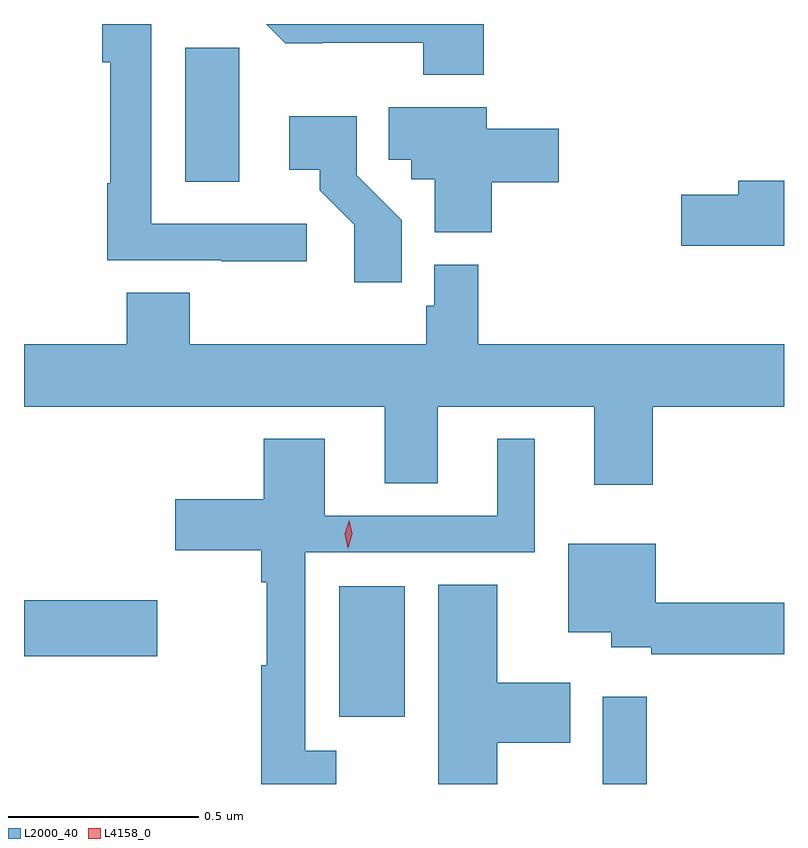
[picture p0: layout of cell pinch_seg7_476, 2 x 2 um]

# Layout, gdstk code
import gdstk
lib = gdstk.Library(unit=1e-6, precision=1e-09)
def R(c, l, rs):  # rectangles x0, y0, x1, y1
    for r in rs: c.add(gdstk.rectangle(r[:2], r[2:], *l))
def P(c, l, *ps):  # polygons
    for p in ps: c.add(gdstk.Polygon(p, *l))
L2000_40 = (2000, 40)
L4158_0 = (4158, 0)

pinch_seg7_476 = lib.new_cell('pinch_seg7_476')
R(pinch_seg7_476, L2000_40, [(314.313,1058.231,314.429,1058.461), (313.619,1058.408,313.792,1058.752), (312.79,1058.567,313.141,1058.714)])
P(pinch_seg7_476, L2000_40, [(314,1060.231),(313.427,1060.231),(313.477,1060.181),(313.576,1060.181),(313.576,1060.182),(313.84,1060.182),(313.84,1060.097),(314,1060.097)],
  [(313.534,1059.705),(313.125,1059.705),(313.125,1060.231),(312.996,1060.231),(312.996,1060.13),(313.017,1060.13),(313.017,1059.812),(313.009,1059.812),(313.009,1059.609),(313.309,1059.609),(313.309,1059.607),(313.534,1059.607)],
  [(313.357,1060.058),(313.356,1060.058),(313.356,1060.169),(313.214,1060.169),(313.214,1059.816),(313.357,1059.816)],
  [(314.021,1059.814),(314.197,1059.814),(314.197,1059.956),(314.008,1059.956),(314.008,1060.012),(313.75,1060.012),(313.75,1059.874),(313.809,1059.874),(313.809,1059.822),(313.871,1059.822),(313.871,1059.683),(314.021,1059.683)],
  [(313.784,1059.714),(313.665,1059.833),(313.665,1059.988),(313.488,1059.988),(313.488,1059.848),(313.568,1059.848),(313.568,1059.793),(313.659,1059.703),(313.659,1059.552),(313.784,1059.552)],
  [(314.79,1059.818),(314.669,1059.818),(314.669,1059.782),(314.52,1059.782),(314.52,1059.647),(314.79,1059.647)],
  [(314.444,1059.224),(314.79,1059.224),(314.79,1059.388),(313.985,1059.388),(313.985,1059.598),(313.869,1059.598),(313.869,1059.489),(313.849,1059.489),(313.849,1059.388),(313.226,1059.388),(313.226,1059.524),(313.061,1059.524),(313.061,1059.388),(312.79,1059.388),(312.79,1059.224),(313.739,1059.224),(313.739,1059.022),(313.879,1059.022),(313.879,1059.224),(314.291,1059.224),(314.291,1059.018),(314.444,1059.018)],
  [(313.612,1058.319),(313.53,1058.319),(313.53,1058.841),(314.134,1058.841),(314.134,1059.139),(314.036,1059.139),(314.036,1058.937),(313.582,1058.937),(313.582,1059.139),(313.421,1059.139),(313.421,1058.98),(313.188,1058.98),(313.188,1058.846),(313.414,1058.846),(313.414,1058.762),(313.429,1058.762),(313.429,1058.544),(313.414,1058.544),(313.414,1058.231),(313.612,1058.231)],
  [(314.79,1058.708),(314.452,1058.708),(314.452,1058.863),(314.222,1058.863),(314.222,1058.63),(314.336,1058.63),(314.336,1058.591),(314.44,1058.591),(314.44,1058.572),(314.79,1058.572)],
  [(314.035,1058.339),(314.228,1058.339),(314.228,1058.497),(314.035,1058.497),(314.035,1058.756),(313.88,1058.756),(313.88,1058.231),(314.035,1058.231)])
P(pinch_seg7_476, L4158_0, [(313.642,1058.853),(313.642,1058.853),(313.634,1058.89),(313.646,1058.925),(313.646,1058.925),(313.646,1058.925),(313.654,1058.889),(313.643,1058.853)])

lib.write_gds('pinch_seg7_476.gds')
